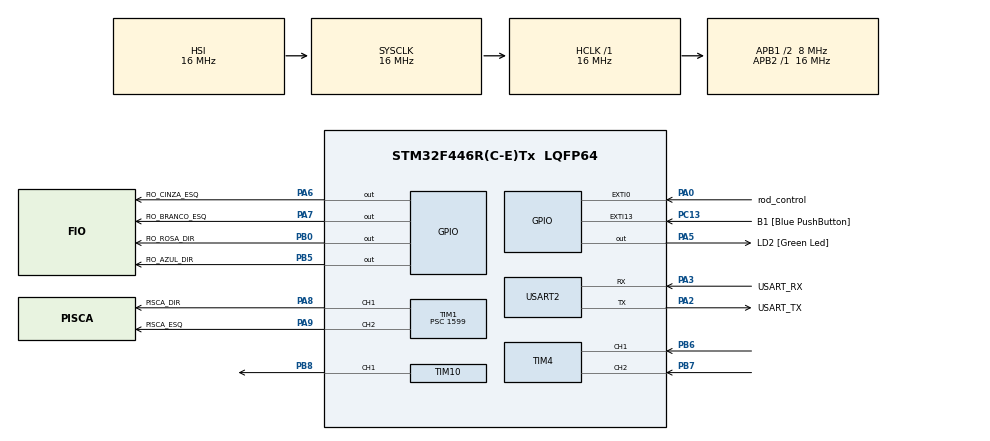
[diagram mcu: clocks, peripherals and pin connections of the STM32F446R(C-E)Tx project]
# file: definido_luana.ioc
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Mcu.Family=STM32F4
Mcu.Name=STM32F446R(C-E)Tx
Mcu.Package=LQFP64
NVIC.PriorityGroup=NVIC_PRIORITYGROUP_0
NVIC.TIM2_IRQn=true\:0\:0\:false\:false\:true\:true\:true
NVIC.TIM3_IRQn=true\:0\:0\:false\:false\:true\:true\:true
NVIC.TIM4_IRQn=true\:0\:0\:false\:false\:true\:true\:true
PA0-WKUP.GPIO_Label=rod_control
PA0-WKUP.GPIO_ModeDefaultEXTI=GPIO_MODE_IT_RISING
PA0-WKUP.Signal=GPXTI0
PA13.GPIO_Label=TMS
PA13.Mode=Serial_Wire
PA13.Signal=SYS_JTMS-SWDIO
PA14.GPIO_Label=TCK
PA14.Mode=Serial_Wire
PA14.Signal=SYS_JTCK-SWCLK
PA2.GPIO_Label=USART_TX
PA2.Mode=Asynchronous
PA2.Signal=USART2_TX
PA3.GPIO_Label=USART_RX
PA3.Mode=Asynchronous
PA3.Signal=USART2_RX
PA5.GPIO_Label=LD2 [Green Led]
PA5.Signal=GPIO_Output
PA6.GPIO_Label=FIO_CINZA_ESQ
PA6.Signal=GPIO_Output
PA7.GPIO_Label=FIO_BRANCO_ESQ
PA7.GPIO_PuPd=GPIO_PULLDOWN
PA7.PinState=GPIO_PIN_RESET
PA7.Signal=GPIO_Output
PA8.GPIO_Label=PISCA_DIR
PA8.Signal=S_TIM1_CH1
PA9.GPIO_Label=PISCA_ESQ
PA9.Signal=S_TIM1_CH2
PB0.GPIO_Label=FIO_ROSA_DIR
PB0.GPIO_PuPd=GPIO_PULLDOWN
PB0.GPIO_Speed=GPIO_SPEED_FREQ_LOW
PB0.PinState=GPIO_PIN_RESET
PB0.Signal=GPIO_Output
PB3.GPIO_Label=SWO
PB3.Signal=SYS_JTDO-SWO
PB5.GPIO_Label=FIO_AZUL_DIR
PB5.Signal=GPIO_Output
PB6.Signal=S_TIM4_CH1
PB7.Signal=S_TIM4_CH2
PB8.Signal=S_TIM10_CH1
PC13.GPIO_Label=B1 [Blue PushButton]
PC13.GPIO_ModeDefaultEXTI=GPIO_MODE_IT_FALLING
PC13.Signal=GPXTI13
PC14-OSC32_IN.Mode=LSE-External-Oscillator
PC14-OSC32_IN.Signal=RCC_OSC32_IN
PC15-OSC32_OUT.Mode=LSE-External-Oscillator
PC15-OSC32_OUT.Signal=RCC_OSC32_OUT
PH0-OSC_IN.Mode=HSE-External-Oscillator
PH0-OSC_IN.Signal=RCC_OSC_IN
PH1-OSC_OUT.Mode=HSE-External-Oscillator
PH1-OSC_OUT.Signal=RCC_OSC_OUT
ProjectManager.HeapSize=0x200
ProjectManager.StackSize=0x400
ProjectManager.TargetToolchain=STM32CubeIDE
RCC.48MHZClocksFreq_Value=84000000
RCC.AHBFreq_Value=16000000
RCC.APB1CLKDivider=RCC_HCLK_DIV2
RCC.APB1Freq_Value=8000000
RCC.APB1TimFreq_Value=16000000
RCC.APB2Freq_Value=16000000
RCC.APB2TimFreq_Value=16000000
RCC.CortexFreq_Value=16000000
RCC.FLatency-AdvancedSettings=FLASH_LATENCY_0
RCC.HCLKFreq_Value=16000000
RCC.HSE_VALUE=8000000
RCC.HSI_VALUE=16000000
RCC.PLLN=336
RCC.PLLP=RCC_PLLP_DIV4
RCC.SYSCLKFreq_VALUE=16000000
RCC.USBFreq_Value=168000000
RCC.VCOOutputFreq_Value=336000000
SH.S_TIM10_CH1.0=TIM10_CH1,PWM Generation1 CH1
SH.S_TIM1_CH1.0=TIM1_CH1,Output Compare1 CH1
SH.S_TIM1_CH2.0=TIM1_CH2,Output Compare2 CH2
SH.S_TIM4_CH1.0=TIM4_CH1,Encoder_Interface
SH.S_TIM4_CH2.0=TIM4_CH2,Encoder_Interface
TIM1.AutoReloadPreload=TIM_AUTORELOAD_PRELOAD_DISABLE
TIM1.Channel-Output\ Compare1\ CH1=TIM_CHANNEL_1
TIM1.Channel-Output\ Compare2\ CH2=TIM_CHANNEL_2
TIM1.OCMode_1=TIM_OCMODE_TOGGLE
TIM1.OCMode_2=TIM_OCMODE_TOGGLE
TIM1.Period=999
TIM1.Prescaler=1599
TIM1.Pulse-Output\ Compare1\ CH1=1
TIM1.Pulse-Output\ Compare2\ CH2=1
TIM10.AutoReloadPreload=TIM_AUTORELOAD_PRELOAD_ENABLE
TIM10.Channel=TIM_CHANNEL_1
TIM10.Period=1000
TIM10.Prescaler=15
TIM10.Pulse=500
TIM2.AutoReloadPreload=TIM_AUTORELOAD_PRELOAD_DISABLE
TIM2.Period=0
TIM2.Prescaler=16000
TIM3.AutoReloadPreload=TIM_AUTORELOAD_PRELOAD_DISABLE
TIM3.Period=1427
TIM3.Prescaler=16000
TIM4.IC1Polarity=TIM_ICPOLARITY_FALLING
TIM4.IC2Polarity=TIM_ICPOLARITY_FALLING
USART2.VirtualMode=VM_ASYNC
VP_TIM10_VS_ClockSourceINT.Mode=Enable_Timer
VP_TIM1_VS_ClockSourceINT.Mode=Internal
VP_TIM2_VS_ClockSourceINT.Mode=Internal
VP_TIM2_VS_OPM.Mode=OPM_bit
VP_TIM3_VS_OPM.Mode=OPM_bit
board=NUCLEO-F446RE

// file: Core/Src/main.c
/* USER CODE BEGIN Header */
/**
  ******************************************************************************
  * @file           : main.c
  * @brief          : Main program body
  ******************************************************************************
  * @attention
  *
  * Copyright (c) 2022 STMicroelectronics.
  * All rights reserved.
  *
  * This software is licensed under terms that can be found in the LICENSE file
  * in the root directory of this software component.
  * If no LICENSE file comes with this software, it is provided AS-IS.
  *
  ******************************************************************************
  */
/* USER CODE END Header */
#include "main.h"
#include "tim.h"
#include "usart.h"
#include "gpio.h"

/* USER CODE BEGIN Includes */
#include <string.h>
/* USER CODE END Includes */

/* USER CODE BEGIN PV */
#define TIMEOUT 10000 //TIMEOUT DO CALLBACK
#define TAM_COMANDO 2 //TAMANHO DO INDICE DO COMANDO CASO 2, PQ EH 1 LETRA E 1 NUMERO
#define DISTANCIA 1 //INDICE QUE REPRESENTA A DISTANCIA QUE O USER DIGITAR
#define CH 0 //INDICE DA DIREÇÃO QUE O USER DIGITAR
#define TAM_MENSAGEM 100 //TAMANHO DE RETORNO DA SERIAL
/* USER CODE END PV */

void SystemClock_Config(void);

/* USER CODE BEGIN 0 */
//Variaveis Movimento do Carro
uint8_t mensagem [TAM_MENSAGEM] = {"Carro LUD a postos \r\n"}; //mensagem inicial serial
uint8_t comando [TAM_COMANDO] ; //comando do usuario
uint32_t novoARR = 0 ; //variavel que vai ser definida, para determinar o tempo
HAL_StatusTypeDef status; //retorno do recebimento da serial
uint16_t distancia_definida, razao, tempo_definido, duty_cicle;

//Varieveis Farois
int16_t count = 0;
uint32_t counter, valor_atualizado;

/* USER CODE END 0 */

int main(void)
{

  /* MCU Configuration--------------------------------------------------------*/

  /* Reset of all peripherals, Initializes the Flash interface and the Systick. */
  HAL_Init();

  /* Configure the system clock */
  SystemClock_Config();

  /* Initialize all configured peripherals */
  MX_GPIO_Init();
  MX_USART2_UART_Init();
  MX_TIM3_Init();
  MX_TIM2_Init();
  MX_TIM10_Init();
  MX_TIM4_Init();
  MX_TIM1_Init();
  /* USER CODE BEGIN 2 */
  HAL_TIM_Encoder_Start_IT(&htim4, TIM_CHANNEL_ALL);
  HAL_TIM_PWM_Start(&htim10, TIM_CHANNEL_1);
  HAL_UART_Transmit(&huart2, mensagem, strlen(mensagem), TIMEOUT);
  /* USER CODE END 2 */

  /* Infinite loop */
  /* USER CODE BEGIN WHILE */

  while (1){
	status = HAL_UART_Receive(&huart2, comando, TAM_COMANDO, TIMEOUT);
	if(status == HAL_OK){ //sucesso no  recebimento do comando, vale 0
	razao = comando[DISTANCIA] - '0';
	if(razao>= 0 || razao<= 9){ //dentro dos parametros
		tempo_definido = 2 * (razao*10) / 20;
		novoARR = ((16000000*tempo_definido) / 16001) ;
	 	}
	 else { comando[DISTANCIA] = 'X'; }
	distancia_definida = razao*10;
	comando[CH] = toupper(comando[CH]);
	switch (comando[CH]){
		case 'F':
		sprintf(mensagem, "Carro LUD andando %d cm para frente \r\n", distancia_definida);
		__HAL_TIM_SET_AUTORELOAD(&htim2, novoARR);
		HAL_TIM_Base_Start_IT(&htim2);

		andarPraFrente();
		break;

		case 'D':
		sprintf(mensagem, "Carro LUD andando %d cm para direita \r\n", distancia_definida);
		__HAL_TIM_SET_AUTORELOAD(&htim2, novoARR);
		//virar para direita
		HAL_TIM_OC_Start(&htim1, TIM_CHANNEL_1);
		HAL_TIM_Base_Start_IT(&htim3);
		andarPraDireita();
		break;

		case 'E':
			sprintf(mensagem, "Carro LUD andando %d cm para esquerda \r\n", distancia_definida);
			__HAL_TIM_SET_AUTORELOAD(&htim2, novoARR);
			//virar para direita
			HAL_TIM_Base_Start_IT(&htim3);
			HAL_TIM_OC_Start(&htim1, TIM_CHANNEL_2);
			andarPraEsquerda();
			break;

		case 'R':
			sprintf(mensagem, "Carro LUD andando %d cm para trás \r\n", distancia_definida);
			__HAL_TIM_SET_AUTORELOAD(&htim2, novoARR);
			HAL_TIM_Base_Start_IT(&htim2);
			andarPraTras();
			break;

		default:
			strncpy(mensagem, "Direcao nao encontrada \r\n", TAM_MENSAGEM);
			break;
		}
	 	HAL_UART_Transmit(&huart2, mensagem, strlen(mensagem), TIMEOUT);
		status = 0;

  }

    /* USER CODE END WHILE */

  }
}

void SystemClock_Config(void)
{
  RCC_OscInitTypeDef RCC_OscInitStruct = {0};
  RCC_ClkInitTypeDef RCC_ClkInitStruct = {0};

  /** Configure the main internal regulator output voltage
  */
  __HAL_RCC_PWR_CLK_ENABLE();
  __HAL_PWR_VOLTAGESCALING_CONFIG(PWR_REGULATOR_VOLTAGE_SCALE3);
  /** Initializes the RCC Oscillators according to the specified parameters
  * in the RCC_OscInitTypeDef structure.
  */
  RCC_OscInitStruct.OscillatorType = RCC_OSCILLATORTYPE_HSI;
  RCC_OscInitStruct.HSIState = RCC_HSI_ON;
  RCC_OscInitStruct.HSICalibrationValue = RCC_HSICALIBRATION_DEFAULT;
  RCC_OscInitStruct.PLL.PLLState = RCC_PLL_NONE;
  if (HAL_RCC_OscConfig(&RCC_OscInitStruct) != HAL_OK)
  {
    Error_Handler();
  }
  /** Initializes the CPU, AHB and APB buses clocks
  */
  RCC_ClkInitStruct.ClockType = RCC_CLOCKTYPE_HCLK|RCC_CLOCKTYPE_SYSCLK
                              |RCC_CLOCKTYPE_PCLK1|RCC_CLOCKTYPE_PCLK2;
  RCC_ClkInitStruct.SYSCLKSource = RCC_SYSCLKSOURCE_HSI;
  RCC_ClkInitStruct.AHBCLKDivider = RCC_SYSCLK_DIV1;
  RCC_ClkInitStruct.APB1CLKDivider = RCC_HCLK_DIV2;
  RCC_ClkInitStruct.APB2CLKDivider = RCC_HCLK_DIV1;

  if (HAL_RCC_ClockConfig(&RCC_ClkInitStruct, FLASH_LATENCY_0) != HAL_OK)
  {
    Error_Handler();
  }
}

/* USER CODE BEGIN 4 */
void HAL_TIM_PeriodElapsedCallback (TIM_HandleTypeDef *htim ){
	if(htim ==  &htim3){
		HAL_TIM_Base_Start_IT(&htim2);
		andarPraFrente();
		HAL_TIM_Base_Stop(&htim3);
		HAL_TIM_OC_Stop(&htim1, TIM_CHANNEL_1);
		HAL_TIM_OC_Stop(&htim1, TIM_CHANNEL_2);
	}
	if (htim == &htim2){
		parar();
		auxiliar=0;
		HAL_TIM_Base_Stop(&htim2);
	}
}

void HAL_TIM_IC_CaptureCallback(TIM_HandleTypeDef *htim){
	if(htim==&htim4){
	counter = __HAL_TIM_GET_COUNTER(htim);
	count = (int16_t)counter;
	count = count/4; //conta a borda de subida e descida dos dois timer, ent divide por 4
	if(count>35){
		count=35;
	}
	else if (count < 0){
		count =0;
	}
	duty_cicle = (count * 1000 / 35) ;
	//controle de brilho de farol
	__HAL_TIM_SET_COMPARE(&htim10, TIM_CHANNEL_1, duty_cicle);
	}
}
void andarPraFrente () {
	//RODA ESQUERDA
	HAL_GPIO_WritePin(GPIOA, FIO_CINZA_ESQ_Pin, 1);
	HAL_GPIO_WritePin(GPIOA, FIO_BRANCO_ESQ_Pin, 0);
	//RODA DIREITA
	HAL_GPIO_WritePin(GPIOB, FIO_ROSA_DIR_Pin, 0);
	HAL_GPIO_WritePin(GPIOB, FIO_AZUL_DIR_Pin, 1);

}
void andarPraDireita (){
	//RODA ESQUERDA
	HAL_GPIO_WritePin(GPIOA, FIO_CINZA_ESQ_Pin, 1);
	HAL_GPIO_WritePin(GPIOA, FIO_BRANCO_ESQ_Pin, 1);
	//RODA DIREITA
	HAL_GPIO_WritePin(GPIOB, FIO_ROSA_DIR_Pin, 0);
	HAL_GPIO_WritePin(GPIOB, FIO_AZUL_DIR_Pin, 1);
}
void andarPraTras (){
	//RODA ESQUERDA
		HAL_GPIO_WritePin(GPIOA, FIO_CINZA_ESQ_Pin, 0);
		HAL_GPIO_WritePin(GPIOA, FIO_BRANCO_ESQ_Pin, 1);
		//RODA DIREITA
		HAL_GPIO_WritePin(GPIOB, FIO_ROSA_DIR_Pin, 1);
		HAL_GPIO_WritePin(GPIOB, FIO_AZUL_DIR_Pin, 0);
}
void andarPraEsquerda (){
	//RODA ESQUERDA
	HAL_GPIO_WritePin(GPIOA, FIO_CINZA_ESQ_Pin, 1);
	HAL_GPIO_WritePin(GPIOA, FIO_BRANCO_ESQ_Pin, 0);
	//RODA DIREITA
	HAL_GPIO_WritePin(GPIOB, FIO_ROSA_DIR_Pin, 1);
	HAL_GPIO_WritePin(GPIOB, FIO_AZUL_DIR_Pin, 1);
}
void parar () {
	HAL_GPIO_WritePin(GPIOA, FIO_CINZA_ESQ_Pin, 1);
	HAL_GPIO_WritePin(GPIOA, FIO_BRANCO_ESQ_Pin, 1);
	HAL_GPIO_WritePin(GPIOB, FIO_ROSA_DIR_Pin, 1);
	HAL_GPIO_WritePin(GPIOB, FIO_AZUL_DIR_Pin, 1);
}
/* USER CODE END 4 */

void Error_Handler(void)
{
  __disable_irq();
  while (1)
  {
  }
}
